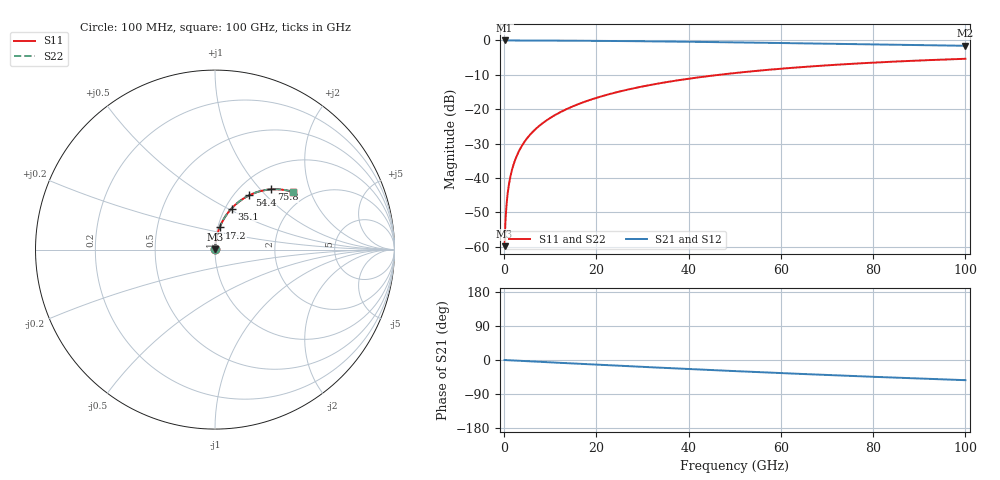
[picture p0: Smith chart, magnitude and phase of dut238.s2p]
! Touchstone file exported from HFSS 2026.1.0
!  File:  C:/ffzhzh/LocalFiles/Ansys_Project_Files/temp_train_RDL_238_1783501306_31944.aedt
!  Generated:  05:02:53 PM Jul  8, 2026
!  Design:  RDL
!  Project:  temp_train_RDL_238_1783501306_31944
! Variables:
!  h_bsmrdl = 2um
!  h_ox = 20um
!  h_rdl = 5um
!  h_sub = 80um
!  h_tmrdl = 4.69um
!  h_tsv = 80um
!  h_via = 3um
!  l_bsmrdl = 300um
!  l_sub = 517.73um
!  l_tmrdl = 117.73um
!  m_sub = 200um
!  pitch = 57.34um
!  r_tsv = 6um
!  s_tmrdl = 10um
!  w_bsmrdl = 18um
!  w_sub = 500um
!  w_tmrdl = 19um
!  x_tsv_center1 = 127.23um
!  x_tsv_center2 = 445.23um
!  x_tsv_center3 = 581.96um
!  x_tsv_center4 = 899.96um
!  x_tsv_center5 = 1036.69um
!  x_tsv_center6 = 1354.69um
# GHz S MA R 50.000000
! Terminal data exported
! Port[1] = TM_RDL1_1_T1
! Port[2] = TM_RDL1_1_T2
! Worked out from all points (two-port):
!   1000 points, 100 MHz to 100 GHz, reference 50 ohm
!   highest |S21| = -0.01 dB at 100 MHz (marker M1); lowest = -1.6 dB at 100 GHz (marker M2)
!   |S21| within 3 dB of the highest: start of sweep to end of sweep
!   lowest |S11| = -59.9 dB at 100 MHz (marker M3), VSWR 1.00, Z = 50.1 + j0.0804 ohm
!   |S11| at or under -10 dB: start of sweep to 46.62 GHz
!   |S22| runs from -59.9 to -5.3 dB; largest |S21 - S12| = 2.1e-15
!   S11 on the Smith chart (normalised r, x): 100 MHz: 1.00, +0.00; 17.2 GHz: 1.02, +0.26; 35.1 GHz: 1.07, +0.52; 54.4 GHz: 1.17, +0.81; 75.8 GHz: 1.35, +1.15; 100 GHz: 1.68, +1.52
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0.1  0.001014 52.4  0.9994 -0.1  0.9994 -0.1  0.001014 52.4
! Gamma 0 0 0 0
! Port Impedance 50 0 50 0
0.4  0.003201 77.3  0.9993 -0.3  0.9993 -0.3  0.003201 77.3
0.8  0.006216 82.7  0.9992 -0.5  0.9992 -0.5  0.006216 82.7
1.1  0.008494 84.1  0.9992 -0.7  0.9992 -0.7  0.008494 84.1
1.4  0.01078 84.9  0.9991 -0.9  0.9991 -0.9  0.01078 84.9
1.9  0.01458 85.4  0.999 -1.2  0.999 -1.2  0.01458 85.4
2.4  0.01837 85.6  0.9989 -1.5  0.9989 -1.5  0.01837 85.6
3.8  0.02892 85.3  0.9984 -2.4  0.9984 -2.4  0.02892 85.3
5.9  0.04454 84.4  0.9975 -3.7  0.9975 -3.7  0.04454 84.4
8.7  0.06511 82.9  0.9959 -5.4  0.9959 -5.4  0.06511 82.9
12.3  0.09125 80.9  0.9935 -7.6  0.9935 -7.6  0.09125 80.9
16.8  0.1234 78.4  0.9896 -10.3  0.9896 -10.3  0.1234 78.4
17.2  0.1263 78.2  0.9892 -10.5  0.9892 -10.5  0.1263 78.2
24.4  0.1763 74.1  0.981 -14.8  0.981 -14.8  0.1763 74.1
33.4  0.2359 69.0  0.968 -20.1  0.968 -20.1  0.2359 69.0
35.1  0.2468 68.1  0.9652 -21.0  0.9652 -21.0  0.2468 68.1
50.1  0.3358 59.9  0.9375 -29.3  0.9375 -29.3  0.3358 59.9
54.4  0.359 57.6  0.9287 -31.6  0.9287 -31.6  0.359 57.7
66.7  0.4194 51.4  0.9029 -37.9  0.9029 -37.9  0.4195 51.5
75.8  0.4586 47.0  0.8837 -42.3  0.8837 -42.3  0.4586 47.1
83.4  0.4877 43.5  0.8679 -45.9  0.8679 -45.9  0.4877 43.6
100  0.5408 36.3  0.8359 -53.2  0.8359 -53.2  0.5408 36.3
